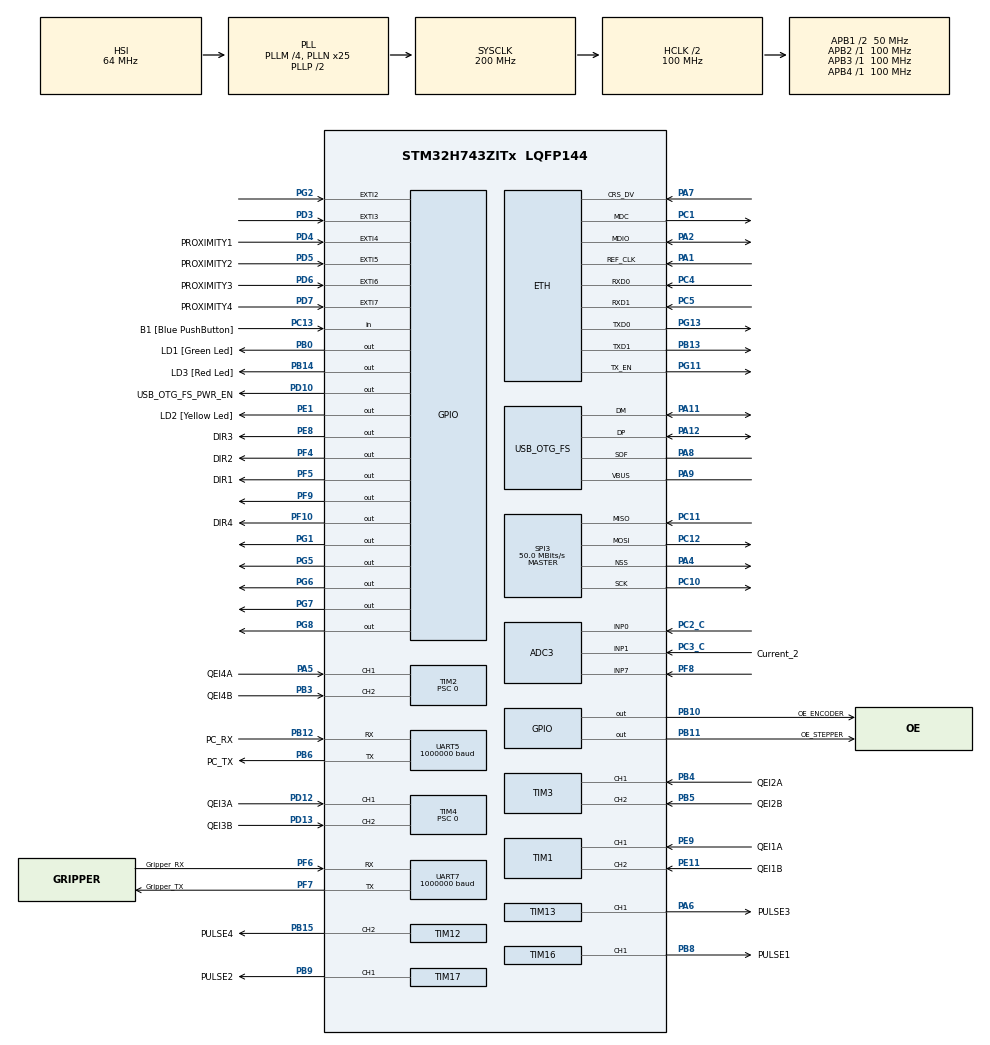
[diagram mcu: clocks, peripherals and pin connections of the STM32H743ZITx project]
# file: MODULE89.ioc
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ADC3.Channel-0\#ChannelRegularConversion=ADC_CHANNEL_1
ADC3.ClockPrescaler=ADC_CLOCK_ASYNC_DIV4
ADC3.ContinuousConvMode=ENABLE
ADC3.DiscontinuousConvMode=DISABLE
ADC3.NbrOfConversionFlag=1
ADC3.OffsetNumber-0\#ChannelRegularConversion=ADC_OFFSET_NONE
ADC3.OffsetSignedSaturation-0\#ChannelRegularConversion=DISABLE
ADC3.Rank-0\#ChannelRegularConversion=1
ADC3.SamplingTime-0\#ChannelRegularConversion=ADC_SAMPLETIME_1CYCLE_5
ARM.CMSIS.5.6.0.CMSISJjCORE=true
ARM.CMSIS.5.6.0.CMSISJjDSP=Library
Bdma.ADC3.0.Direction=DMA_PERIPH_TO_MEMORY
Bdma.ADC3.0.EventEnable=DISABLE
Bdma.ADC3.0.Instance=BDMA_Channel0
Bdma.ADC3.0.MemDataAlignment=DMA_MDATAALIGN_WORD
Bdma.ADC3.0.MemInc=DMA_MINC_ENABLE
Bdma.ADC3.0.Mode=DMA_CIRCULAR
Bdma.ADC3.0.PeriphDataAlignment=DMA_PDATAALIGN_WORD
Bdma.ADC3.0.PeriphInc=DMA_PINC_DISABLE
Bdma.ADC3.0.Polarity=HAL_DMAMUX_REQ_GEN_RISING
Bdma.ADC3.0.Priority=DMA_PRIORITY_LOW
Bdma.ADC3.0.RequestNumber=1
Bdma.ADC3.0.SignalID=NONE
Bdma.ADC3.0.SyncEnable=DISABLE
Bdma.ADC3.0.SyncPolarity=HAL_DMAMUX_SYNC_NO_EVENT
Bdma.ADC3.0.SyncRequestNumber=1
Bdma.ADC3.0.SyncSignalID=NONE
Bdma.Request0=ADC3
Bdma.RequestsNb=1
Dma.Request0=UART5_RX
Dma.Request1=UART5_TX
Dma.UART5_RX.0.Direction=DMA_PERIPH_TO_MEMORY
Dma.UART5_RX.0.EventEnable=DISABLE
Dma.UART5_RX.0.FIFOMode=DMA_FIFOMODE_DISABLE
Dma.UART5_RX.0.Instance=DMA1_Stream1
Dma.UART5_RX.0.MemDataAlignment=DMA_MDATAALIGN_BYTE
Dma.UART5_RX.0.MemInc=DMA_MINC_ENABLE
Dma.UART5_RX.0.Mode=DMA_CIRCULAR
Dma.UART5_RX.0.PeriphDataAlignment=DMA_PDATAALIGN_BYTE
Dma.UART5_RX.0.PeriphInc=DMA_PINC_DISABLE
Dma.UART5_RX.0.Polarity=HAL_DMAMUX_REQ_GEN_RISING
Dma.UART5_RX.0.Priority=DMA_PRIORITY_LOW
Dma.UART5_RX.0.RequestNumber=1
Dma.UART5_RX.0.SignalID=NONE
Dma.UART5_RX.0.SyncEnable=DISABLE
Dma.UART5_RX.0.SyncPolarity=HAL_DMAMUX_SYNC_NO_EVENT
Dma.UART5_RX.0.SyncRequestNumber=1
Dma.UART5_RX.0.SyncSignalID=NONE
Dma.UART5_TX.1.Direction=DMA_MEMORY_TO_PERIPH
Dma.UART5_TX.1.EventEnable=DISABLE
Dma.UART5_TX.1.FIFOMode=DMA_FIFOMODE_DISABLE
Dma.UART5_TX.1.Instance=DMA1_Stream0
Dma.UART5_TX.1.MemDataAlignment=DMA_MDATAALIGN_BYTE
Dma.UART5_TX.1.MemInc=DMA_MINC_ENABLE
Dma.UART5_TX.1.Mode=DMA_CIRCULAR
Dma.UART5_TX.1.PeriphDataAlignment=DMA_PDATAALIGN_BYTE
Dma.UART5_TX.1.PeriphInc=DMA_PINC_DISABLE
Dma.UART5_TX.1.Polarity=HAL_DMAMUX_REQ_GEN_RISING
Dma.UART5_TX.1.Priority=DMA_PRIORITY_LOW
Dma.UART5_TX.1.RequestNumber=1
Dma.UART5_TX.1.SignalID=NONE
Dma.UART5_TX.1.SyncEnable=DISABLE
Dma.UART5_TX.1.SyncPolarity=HAL_DMAMUX_SYNC_NO_EVENT
Dma.UART5_TX.1.SyncRequestNumber=1
Dma.UART5_TX.1.SyncSignalID=NONE
ETH.MediaInterface=HAL_ETH_RMII_MODE
Mcu.Family=STM32H7
Mcu.Name=STM32H743ZITx
Mcu.Package=LQFP144
NVIC.BDMA_Channel0_IRQn=true\:0\:0\:false\:false\:true\:false\:true
NVIC.DMA1_Stream0_IRQn=true\:0\:0\:false\:false\:true\:false\:true
NVIC.DMA1_Stream1_IRQn=true\:0\:0\:false\:false\:true\:false\:true
NVIC.EXTI4_IRQn=true\:0\:0\:false\:false\:true\:true\:true
NVIC.EXTI9_5_IRQn=true\:0\:0\:false\:false\:true\:true\:true
NVIC.PriorityGroup=NVIC_PRIORITYGROUP_4
NVIC.TIM16_IRQn=true\:0\:0\:false\:false\:true\:true\:true
NVIC.TIM17_IRQn=true\:0\:0\:false\:false\:true\:true\:true
NVIC.TIM5_IRQn=true\:0\:0\:false\:false\:true\:true\:true
NVIC.TIM8_BRK_TIM12_IRQn=true\:0\:0\:false\:false\:true\:true\:true
NVIC.TIM8_UP_TIM13_IRQn=true\:0\:0\:false\:false\:true\:true\:true
NVIC.UART5_IRQn=true\:0\:0\:false\:false\:true\:true\:true
NVIC.UART7_IRQn=true\:0\:0\:false\:false\:true\:true\:true
PA1.Mode=RMII
PA1.PinAttribute=Free
PA1.Signal=ETH_REF_CLK
PA11.Mode=Device_Only
PA11.Signal=USB_OTG_FS_DM
PA12.Mode=Device_Only
PA12.Signal=USB_OTG_FS_DP
PA2.Mode=RMII
PA2.PinAttribute=Free
PA2.Signal=ETH_MDIO
PA4.Mode=NSS_Signal_Hard_Output
PA4.Signal=SPI3_NSS
PA5.GPIO_Label=QEI4A
PA5.Signal=S_TIM2_CH1
PA6.GPIO_Label=PULSE3
PA6.GPIO_PuPd=GPIO_PULLUP
PA6.GPIO_Speed=GPIO_SPEED_FREQ_LOW
PA6.Signal=S_TIM13_CH1
PA7.Mode=RMII
PA7.Signal=ETH_CRS_DV
PA8.Mode=Activate_SOF_FS
PA8.Signal=USB_OTG_FS_SOF
PA9.Mode=Activate_VBUS
PA9.Signal=USB_OTG_FS_VBUS
PB0.GPIO_Label=LD1 [Green Led]
PB0.Signal=GPIO_Output
PB10.GPIO_Label=OE_ENCODER
PB10.Signal=GPIO_Output
PB11.GPIO_Label=OE_STEPPER
PB11.Signal=GPIO_Output
PB12.GPIO_Label=PC_RX
PB12.Mode=Asynchronous
PB12.Signal=UART5_RX
PB13.Mode=RMII
PB13.Signal=ETH_TXD1
PB14.GPIO_Label=LD3 [Red Led]
PB14.Signal=GPIO_Output
PB15.GPIO_Label=PULSE4
PB15.GPIO_PuPd=GPIO_PULLUP
PB15.GPIO_Speed=GPIO_SPEED_FREQ_LOW
PB15.Signal=S_TIM12_CH2
PB3\ (JTDO/TRACESWO).GPIO_Label=QEI4B
PB3\ (JTDO/TRACESWO).Signal=S_TIM2_CH2
PB4\ (NJTRST).GPIO_Label=QEI2A
PB4\ (NJTRST).Signal=S_TIM3_CH1
PB5.GPIO_Label=QEI2B
PB5.Signal=S_TIM3_CH2
PB6.GPIO_Label=PC_TX
PB6.Mode=Asynchronous
PB6.Signal=UART5_TX
PB8.GPIO_FM8=__NULL
PB8.GPIO_Label=PULSE1
PB8.GPIO_PuPd=GPIO_PULLUP
PB8.GPIO_Speed=GPIO_SPEED_FREQ_LOW
PB8.Signal=S_TIM16_CH1
PB9.GPIO_Label=PULSE2
PB9.GPIO_PuPd=GPIO_PULLUP
PB9.GPIO_Speed=GPIO_SPEED_FREQ_LOW
PB9.Signal=S_TIM17_CH1
PC1.Mode=RMII
PC1.PinAttribute=Free
PC1.Signal=ETH_MDC
PC10.Mode=Full_Duplex_Master
PC10.Signal=SPI3_SCK
PC11.Mode=Full_Duplex_Master
PC11.Signal=SPI3_MISO
PC12.Mode=Full_Duplex_Master
PC12.Signal=SPI3_MOSI
PC13.GPIO_Label=B1 [Blue PushButton]
PC13.Signal=GPIO_Input
PC14-OSC32_IN\ (OSC32_IN).Mode=LSE-External-Oscillator
PC14-OSC32_IN\ (OSC32_IN).Signal=RCC_OSC32_IN
PC15-OSC32_OUT\ (OSC32_OUT).Mode=LSE-External-Oscillator
PC15-OSC32_OUT\ (OSC32_OUT).Signal=RCC_OSC32_OUT
PC2_C.Mode=IN0-Single-Ended
PC2_C.Signal=ADC3_INP0
PC3_C.GPIO_Label=Current_2
PC3_C.Mode=IN1-Single-Ended
PC3_C.PinAttribute=Free
PC3_C.Signal=ADC3_INP1
PC4.Mode=RMII
PC4.Signal=ETH_RXD0
PC5.Mode=RMII
PC5.Signal=ETH_RXD1
PD10.GPIO_Label=USB_OTG_FS_PWR_EN
PD10.Signal=GPIO_Output
PD12.GPIO_Label=QEI3A
PD12.GPIO_PuPd=GPIO_NOPULL
PD12.Signal=S_TIM4_CH1
PD13.GPIO_Label=QEI3B
PD13.GPIO_PuPd=GPIO_NOPULL
PD13.Signal=S_TIM4_CH2
PD3.Signal=GPXTI3
PD4.GPIO_Label=PROXIMITY1
PD4.GPIO_ModeDefaultEXTI=GPIO_MODE_IT_FALLING
PD4.Signal=GPXTI4
PD5.GPIO_Label=PROXIMITY2
PD5.GPIO_ModeDefaultEXTI=GPIO_MODE_IT_FALLING
PD5.Signal=GPXTI5
PD6.GPIO_Label=PROXIMITY3
PD6.GPIO_ModeDefaultEXTI=GPIO_MODE_IT_FALLING
PD6.Signal=GPXTI6
PD7.GPIO_Label=PROXIMITY4
PD7.GPIO_ModeDefaultEXTI=GPIO_MODE_IT_FALLING
PD7.GPIO_PuPd=GPIO_NOPULL
PD7.Signal=GPXTI7
PD8.GPIO_Label=STLINK_RX
PD8.Signal=USART3_TX
PD9.GPIO_Label=STLINK_TX
PD9.Signal=USART3_RX
PE1.GPIO_Label=LD2 [Yellow Led]
PE1.Signal=GPIO_Output
PE11.GPIO_Label=QEI1B
PE11.Signal=S_TIM1_CH2
PE8.GPIO_Label=DIR3
PE8.GPIO_PuPd=GPIO_PULLUP
PE8.Signal=GPIO_Output
PE9.GPIO_Label=QEI1A
PE9.Signal=S_TIM1_CH1
PF10.GPIO_Label=DIR4
PF10.GPIO_PuPd=GPIO_PULLUP
PF10.PinAttribute=Free
PF10.Signal=GPIO_Output
PF4.GPIO_Label=DIR2
PF4.GPIO_PuPd=GPIO_PULLUP
PF4.Signal=GPIO_Output
PF5.GPIO_Label=DIR1
PF5.GPIO_PuPd=GPIO_PULLUP
PF5.Signal=GPIO_Output
PF6.GPIO_Label=Gripper_RX
PF6.Mode=Asynchronous
PF6.Signal=UART7_RX
PF7.GPIO_Label=Gripper_TX
PF7.Mode=Asynchronous
PF7.Signal=UART7_TX
PF8.Mode=IN7-Single-Ended
PF8.Signal=ADC3_INP7
PF9.Signal=GPIO_Output
PG1.Signal=GPIO_Output
PG11.Mode=RMII
PG11.Signal=ETH_TX_EN
PG13.Mode=RMII
PG13.Signal=ETH_TXD0
PG2.Signal=GPXTI2
PG5.Signal=GPIO_Output
PG6.Signal=GPIO_Output
PG7.Signal=GPIO_Output
PG8.Signal=GPIO_Output
PH0-OSC_IN\ (PH0).Mode=HSE-External-Oscillator
PH0-OSC_IN\ (PH0).PinAttribute=Free
PH0-OSC_IN\ (PH0).Signal=RCC_OSC_IN
PH1-OSC_OUT\ (PH1).Mode=HSE-External-Oscillator
PH1-OSC_OUT\ (PH1).PinAttribute=Free
PH1-OSC_OUT\ (PH1).Signal=RCC_OSC_OUT
ProjectManager.HeapSize=0x200
ProjectManager.StackSize=0x400
ProjectManager.TargetToolchain=STM32CubeIDE
RCC.ADCCLockSelection=RCC_ADCCLKSOURCE_PLL3
RCC.ADCFreq_Value=40000000
RCC.APB1Freq_Value=50000000
RCC.APB2Freq_Value=100000000
RCC.APB3Freq_Value=100000000
RCC.APB4Freq_Value=100000000
RCC.CortexFreq_Value=200000000
RCC.D2PPRE1=RCC_APB1_DIV2
RCC.DIVM1=4
RCC.DIVM3=4
RCC.DIVN1=25
RCC.DIVN3=10
RCC.DIVQ1=4
RCC.DIVR3=4
RCC.HCLKFreq_Value=100000000
RCC.HPRE=RCC_HCLK_DIV2
RCC.HSE_VALUE=48000000
RCC.PLL1_VCI_Range-AdvancedSettings=RCC_PLL1VCIRANGE_0
RCC.SYSCLKFreq_VALUE=200000000
RCC.SYSCLKSource=RCC_SYSCLKSOURCE_PLLCLK
RCC.USBCLockSelection=RCC_USBCLKSOURCE_HSI48
RCC.USBFreq_Value=48000000
SH.S_TIM12_CH2.0=TIM12_CH2,PWM Generation2 CH2
SH.S_TIM13_CH1.0=TIM13_CH1,PWM Generation1 CH1
SH.S_TIM16_CH1.0=TIM16_CH1,PWM Generation1 CH1
SH.S_TIM17_CH1.0=TIM17_CH1,PWM Generation1 CH1
SH.S_TIM1_CH1.0=TIM1_CH1,Encoder_Interface
SH.S_TIM1_CH2.0=TIM1_CH2,Encoder_Interface
SH.S_TIM2_CH1.0=TIM2_CH1,Encoder_Interface
SH.S_TIM2_CH2.0=TIM2_CH2,Encoder_Interface
SH.S_TIM3_CH1.0=TIM3_CH1,Encoder_Interface
SH.S_TIM3_CH2.0=TIM3_CH2,Encoder_Interface
SH.S_TIM4_CH1.0=TIM4_CH1,Encoder_Interface
SH.S_TIM4_CH2.0=TIM4_CH2,Encoder_Interface
SPI3.BaudRatePrescaler=SPI_BAUDRATEPRESCALER_2
SPI3.CalculateBaudRate=50.0 MBits/s
SPI3.Direction=SPI_DIRECTION_2LINES
SPI3.Mode=SPI_MODE_MASTER
SPI3.VirtualNSS=VM_NSSHARD
SPI3.VirtualType=VM_MASTER
TIM1.EncoderMode=TIM_ENCODERMODE_TI12
TIM12.AutoReloadPreload=TIM_AUTORELOAD_PRELOAD_ENABLE
TIM12.Channel-PWM\ Generation2\ CH2=TIM_CHANNEL_2
TIM12.ClockDivision=TIM_CLOCKDIVISION_DIV1
TIM12.OCFastMode_PWM-PWM\ Generation2\ CH2=TIM_OCFAST_DISABLE
TIM12.Period=62500
TIM12.Prescaler=0
TIM12.Pulse-PWM\ Generation2\ CH2=31250
TIM13.AutoReloadPreload=TIM_AUTORELOAD_PRELOAD_ENABLE
TIM13.Channel=TIM_CHANNEL_1
TIM13.OCFastMode_PWM=TIM_OCFAST_DISABLE
TIM13.Period=62500
TIM13.Prescaler=0
TIM13.Pulse=31250
TIM16.AutoReloadPreload=TIM_AUTORELOAD_PRELOAD_ENABLE
TIM16.Channel=TIM_CHANNEL_1
TIM16.OCFastMode_PWM=TIM_OCFAST_DISABLE
TIM16.Period=62500
TIM16.Prescaler=0
TIM16.Pulse=31250
TIM17.AutoReloadPreload=TIM_AUTORELOAD_PRELOAD_ENABLE
TIM17.Channel=TIM_CHANNEL_1
TIM17.OCFastMode_PWM=TIM_OCFAST_DISABLE
TIM17.Period=62500
TIM17.Prescaler=0
TIM17.Pulse=31250
TIM2.EncoderMode=TIM_ENCODERMODE_TI12
TIM2.Period=2000
TIM2.Prescaler=0
TIM3.EncoderMode=TIM_ENCODERMODE_TI12
TIM4.EncoderMode=TIM_ENCODERMODE_TI12
TIM4.IC1Filter=0
TIM4.IC1Prescaler=TIM_ICPSC_DIV1
TIM4.IC2Filter=0
TIM4.IC2Prescaler=TIM_ICPSC_DIV1
TIM4.Prescaler=0
TIM5.Period=50000
TIM5.Prescaler=0
UART5.BaudRate=1000000
UART7.BaudRate=1000000
USB_OTG_FS.VirtualMode=Device_Only
USB_OTG_FS.dma_enable=DISABLE
VP_ARM.CMSIS_VS_CMSISJjCORE_5.3.0_5.6.0.Mode=CMSISJjCORE
VP_ARM.CMSIS_VS_CMSISJjDSP_1.7.0_5.6.0.Mode=CMSISJjDSP
VP_TIM12_VS_ClockSourceINT.Mode=Internal
VP_TIM13_VS_ClockSourceINT.Mode=Enable_Timer
VP_TIM16_VS_ClockSourceINT.Mode=Enable_Timer
VP_TIM17_VS_ClockSourceINT.Mode=Enable_Timer
VP_TIM5_VS_ClockSourceINT.Mode=Internal
board=NUCLEO-H743ZI2

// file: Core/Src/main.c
/* USER CODE BEGIN Header */
/**
 * 	// File name: main.c
	// Author: KRITTAPAK
	// Project Name: Module8-9
	// Group name: ISUS
  ******************************************************************************
  * @file           : main.c
  * @brief          : Main program body
  ******************************************************************************
  * @attention
  *
  * <h2><center>&copy; Copyright (c) 2021 STMicroelectronics.
  * All rights reserved.</center></h2>
  *
  * This software component is licensed by ST under BSD 3-Clause license,
  * the "License"; You may not use this file except in compliance with the
  * License. You may obtain a copy of the License at:
  *                        opensource.org/licenses/BSD-3-Clause
  *
  ******************************************************************************
  */
/* USER CODE END Header */
#include "main.h"
#include "string.h"

/* USER CODE BEGIN Includes */
#include "arm_math.h"

#include "QEI.h"
#include "PID.h"
#include "STEPPER.h"
#include "Serial.h"
#include "TASKSPACE.h"
#include "forwardKinematic.h"
#include "PATH.h"
#include "CHESS.h"
/* USER CODE END Includes */

#if defined ( __ICCARM__ ) /*!< IAR Compiler */

#pragma location=0x30040000
ETH_DMADescTypeDef  DMARxDscrTab[ETH_RX_DESC_CNT]; /* Ethernet Rx DMA Descriptors */
#pragma location=0x30040060
ETH_DMADescTypeDef  DMATxDscrTab[ETH_TX_DESC_CNT]; /* Ethernet Tx DMA Descriptors */
#pragma location=0x30040200
uint8_t Rx_Buff[ETH_RX_DESC_CNT][ETH_MAX_PACKET_SIZE]; /* Ethernet Receive Buffers */

#elif defined ( __CC_ARM )  /* MDK ARM Compiler */

__attribute__((at(0x30040000))) ETH_DMADescTypeDef  DMARxDscrTab[ETH_RX_DESC_CNT]; /* Ethernet Rx DMA Descriptors */
__attribute__((at(0x30040060))) ETH_DMADescTypeDef  DMATxDscrTab[ETH_TX_DESC_CNT]; /* Ethernet Tx DMA Descriptors */
__attribute__((at(0x30040200))) uint8_t Rx_Buff[ETH_RX_DESC_CNT][ETH_MAX_PACKET_SIZE]; /* Ethernet Receive Buffer */

#elif defined ( __GNUC__ ) /* GNU Compiler */

ETH_DMADescTypeDef DMARxDscrTab[ETH_RX_DESC_CNT] __attribute__((section(".RxDecripSection"))); /* Ethernet Rx DMA Descriptors */
ETH_DMADescTypeDef DMATxDscrTab[ETH_TX_DESC_CNT] __attribute__((section(".TxDecripSection")));   /* Ethernet Tx DMA Descriptors */
uint8_t Rx_Buff[ETH_RX_DESC_CNT][ETH_MAX_PACKET_SIZE] __attribute__((section(".RxArraySection"))); /* Ethernet Receive Buffers */

#endif

ETH_TxPacketConfig TxConfig;
ADC_HandleTypeDef hadc3;
DMA_HandleTypeDef hdma_adc3;

ETH_HandleTypeDef heth;

SPI_HandleTypeDef hspi3;

TIM_HandleTypeDef htim1;
TIM_HandleTypeDef htim2;
TIM_HandleTypeDef htim3;
TIM_HandleTypeDef htim4;
TIM_HandleTypeDef htim5;
TIM_HandleTypeDef htim12;
TIM_HandleTypeDef htim13;
TIM_HandleTypeDef htim16;
TIM_HandleTypeDef htim17;

UART_HandleTypeDef huart5;
UART_HandleTypeDef huart7;
DMA_HandleTypeDef hdma_uart5_rx;
DMA_HandleTypeDef hdma_uart5_tx;

PCD_HandleTypeDef hpcd_USB_OTG_FS;

/* USER CODE BEGIN PV */
uint32_t STEP_TIMER_CLOCK;
uint32_t STEP_CONTROLLER_PERIOD_US;
uint32_t state = 0;
uint32_t time = 0;
double encoder_field = 0;
/* USER CODE END PV */

void SystemClock_Config(void);
static void MX_GPIO_Init(void);
static void MX_BDMA_Init(void);
static void MX_DMA_Init(void);
static void MX_ETH_Init(void);
static void MX_USB_OTG_FS_PCD_Init(void);
static void MX_TIM2_Init(void);
static void MX_TIM3_Init(void);
static void MX_TIM4_Init(void);
static void MX_TIM1_Init(void);
static void MX_SPI3_Init(void);
static void MX_ADC3_Init(void);
static void MX_TIM5_Init(void);
static void MX_UART7_Init(void);
static void MX_TIM12_Init(void);
static void MX_TIM13_Init(void);
static void MX_TIM16_Init(void);
static void MX_TIM17_Init(void);
static void MX_UART5_Init(void);

int main(void)
{

  /* MCU Configuration--------------------------------------------------------*/

  /* Reset of all peripherals, Initializes the Flash interface and the Systick. */
  HAL_Init();

  /* Configure the system clock */
  SystemClock_Config();

  /* Initialize all configured peripherals */
  MX_GPIO_Init();
  MX_BDMA_Init();
  MX_DMA_Init();
  MX_ETH_Init();
  MX_USB_OTG_FS_PCD_Init();
  MX_TIM2_Init();
  MX_TIM3_Init();
  MX_TIM4_Init();
  MX_TIM1_Init();
  MX_SPI3_Init();
  MX_ADC3_Init();
  MX_TIM5_Init();
  MX_UART7_Init();
  MX_TIM12_Init();
  MX_TIM13_Init();
  MX_TIM16_Init();
  MX_TIM17_Init();
  MX_UART5_Init();
  /* USER CODE BEGIN 2 */
  STEP_TIMER_CLOCK = HAL_RCC_GetHCLKFreq();
  STEP_CONTROLLER_PERIOD_US =  1000000U /(HAL_RCC_GetHCLKFreq() / htim5.Init.Period);

  //htim16 stepper 1
  //htim17 stepper 2
  //htim13 stepper 3
  //htim12 stepper 4

  //Stepper Setup
//  Stepper_Setup(1, &htim16, TIM_CHANNEL_1, DIR1_GPIO_Port, DIR1_Pin, 0);
//  Stepper_SetMinPosition(1, -360.00);
//  Stepper_SetMaxPosition(1, 360.00);
//  Stepper_Setup(2, &htim17, TIM_CHANNEL_1, DIR2_GPIO_Port, DIR2_Pin, 0);
//  Stepper_SetMinPosition(2, -360.00);
//  Stepper_SetMaxPosition(2, 360.00);
//  Stepper_Setup(3, &htim13, TIM_CHANNEL_1, DIR3_GPIO_Port, DIR3_Pin, 1);
//  Stepper_SetMinPosition(3, -106.00);
//  Stepper_SetMaxPosition(3, 106.00);

  Stepper_Setup(3, &htim16, TIM_CHANNEL_1, DIR1_GPIO_Port, DIR1_Pin, 1);
  Stepper_SetMinPosition(3, -106.00);
  Stepper_SetMaxPosition(3, 106.00);
  Stepper_Setup(2, &htim17, TIM_CHANNEL_1, DIR2_GPIO_Port, DIR2_Pin, 0);
  Stepper_SetMinPosition(2, -360.00);
  Stepper_SetMaxPosition(2, 360.00);
  Stepper_Setup(1, &htim13, TIM_CHANNEL_1, DIR3_GPIO_Port, DIR3_Pin, 0);
  Stepper_SetMinPosition(1, -360.00);
  Stepper_SetMaxPosition(1, 360.00);

  Stepper_Setup(4, &htim12, TIM_CHANNEL_2, DIR4_GPIO_Port, DIR4_Pin, 1);
  Stepper_SetMinPosition(4, 0);
  Stepper_SetMaxPosition(4, 150.00);
  Stepper_DefaultState(1);
  Stepper_DefaultState(2);
  Stepper_DefaultState(3);
  Stepper_DefaultState(4);

//  __HAL_TIM_ENABLE_IT(&htim12, TIM_IT_UPDATE);
//  __HAL_TIM_ENABLE_IT(&htim13, TIM_IT_UPDATE);
//  __HAL_TIM_ENABLE_IT(&htim16, TIM_IT_UPDATE);

  //Timer Interrupt Control
  HAL_TIM_Base_Start_IT(&htim5);

  //PID STEPPER Setup
  setupPID(1, 0.001, -50, 50, 0.25, 0, 0);
  setupPID(2, 0.001, -75, 75, 0.25, 0, 0);
  setupPID(3, 0.001, -1000, 1000, 3.0, 0, 0);

  //PID Field Setup
//  setupPID(4, 0.05, -20, 20, 1.0, 0, 0);

  //Encoder Setup
  Encoder_Start(1, &htim1, TIM_CHANNEL_ALL);
  Encoder_Start(2, &htim3, TIM_CHANNEL_ALL);
  Encoder_Start(3, &htim4, TIM_CHANNEL_ALL);
  Encoder_Start(4, &htim2, TIM_CHANNEL_ALL);

  //Uart
  Serial_Setup(1, &huart5);
  Serial_Setup(2, &huart7);

  //Encoder Field
  set_field_zero();

//  Stepper_updateHome(1, 1);
//  Stepper_updateHome(2, 1);
//  Stepper_updateHome(3, 1);
  /* USER CODE END 2 */

  /* Infinite loop */
  /* USER CODE BEGIN WHILE */
  while (1)
  {
	  encoder_field = get_real_degree_chess();

	  if((HAL_GetTick() - time) > 1000){
		  time = HAL_GetTick();
		  Feedback_XYZ(1, get_fk_X(0), get_fk_Y(0), get_fk_Z(0), get_fk_roll(0));
	  }
	  if(state){
		  update_FK_real(0);
		  update_path();
//		  Feedback_JOINT(1, , q2, q3, q4);
		  Stepper_runStep(1);
		  Stepper_runStep(2);
		  Stepper_runStep(3);
//		  Stepper_runStep(4);
		  state = 0;
	  }
	  selectPacket(1);

    /* USER CODE END WHILE */

  }
}

void SystemClock_Config(void)
{
  RCC_OscInitTypeDef RCC_OscInitStruct = {0};
  RCC_ClkInitTypeDef RCC_ClkInitStruct = {0};

  /** Supply configuration update enable
  */
  HAL_PWREx_ConfigSupply(PWR_LDO_SUPPLY);
  /** Configure the main internal regulator output voltage
  */
  __HAL_PWR_VOLTAGESCALING_CONFIG(PWR_REGULATOR_VOLTAGE_SCALE3);

  while(!__HAL_PWR_GET_FLAG(PWR_FLAG_VOSRDY)) {}
  /** Macro to configure the PLL clock source
  */
  __HAL_RCC_PLL_PLLSOURCE_CONFIG(RCC_PLLSOURCE_HSI);
  /** Initializes the RCC Oscillators according to the specified parameters
  * in the RCC_OscInitTypeDef structure.
  */
  RCC_OscInitStruct.OscillatorType = RCC_OSCILLATORTYPE_HSI48|RCC_OSCILLATORTYPE_HSI;
  RCC_OscInitStruct.HSIState = RCC_HSI_DIV1;
  RCC_OscInitStruct.HSICalibrationValue = RCC_HSICALIBRATION_DEFAULT;
  RCC_OscInitStruct.HSI48State = RCC_HSI48_ON;
  RCC_OscInitStruct.PLL.PLLState = RCC_PLL_ON;
  RCC_OscInitStruct.PLL.PLLSource = RCC_PLLSOURCE_HSI;
  RCC_OscInitStruct.PLL.PLLM = 4;
  RCC_OscInitStruct.PLL.PLLN = 25;
  RCC_OscInitStruct.PLL.PLLP = 2;
  RCC_OscInitStruct.PLL.PLLQ = 4;
  RCC_OscInitStruct.PLL.PLLR = 2;
  RCC_OscInitStruct.PLL.PLLRGE = RCC_PLL1VCIRANGE_3;
  RCC_OscInitStruct.PLL.PLLVCOSEL = RCC_PLL1VCOWIDE;
  RCC_OscInitStruct.PLL.PLLFRACN = 0;
  if (HAL_RCC_OscConfig(&RCC_OscInitStruct) != HAL_OK)
  {
    Error_Handler();
  }
  /** Initializes the CPU, AHB and APB buses clocks
  */
  RCC_ClkInitStruct.ClockType = RCC_CLOCKTYPE_HCLK|RCC_CLOCKTYPE_SYSCLK
                              |RCC_CLOCKTYPE_PCLK1|RCC_CLOCKTYPE_PCLK2
                              |RCC_CLOCKTYPE_D3PCLK1|RCC_CLOCKTYPE_D1PCLK1;
  RCC_ClkInitStruct.SYSCLKSource = RCC_SYSCLKSOURCE_PLLCLK;
  RCC_ClkInitStruct.SYSCLKDivider = RCC_SYSCLK_DIV1;
  RCC_ClkInitStruct.AHBCLKDivider = RCC_HCLK_DIV2;
  RCC_ClkInitStruct.APB3CLKDivider = RCC_APB3_DIV1;
  RCC_ClkInitStruct.APB1CLKDivider = RCC_APB1_DIV2;
  RCC_ClkInitStruct.APB2CLKDivider = RCC_APB2_DIV1;
  RCC_ClkInitStruct.APB4CLKDivider = RCC_APB4_DIV1;

  if (HAL_RCC_ClockConfig(&RCC_ClkInitStruct, FLASH_LATENCY_2) != HAL_OK)
  {
    Error_Handler();
  }
}

static void MX_ADC3_Init(void)
{

  ADC_ChannelConfTypeDef sConfig = {0};

  /** Common config
  */
  hadc3.Instance = ADC3;
  hadc3.Init.ClockPrescaler = ADC_CLOCK_ASYNC_DIV4;
  hadc3.Init.Resolution = ADC_RESOLUTION_16B;
  hadc3.Init.ScanConvMode = ADC_SCAN_DISABLE;
  hadc3.Init.EOCSelection = ADC_EOC_SINGLE_CONV;
  hadc3.Init.LowPowerAutoWait = DISABLE;
  hadc3.Init.ContinuousConvMode = ENABLE;
  hadc3.Init.NbrOfConversion = 1;
  hadc3.Init.DiscontinuousConvMode = DISABLE;
  hadc3.Init.ExternalTrigConv = ADC_SOFTWARE_START;
  hadc3.Init.ExternalTrigConvEdge = ADC_EXTERNALTRIGCONVEDGE_NONE;
  hadc3.Init.ConversionDataManagement = ADC_CONVERSIONDATA_DR;
  hadc3.Init.Overrun = ADC_OVR_DATA_PRESERVED;
  hadc3.Init.LeftBitShift = ADC_LEFTBITSHIFT_NONE;
  hadc3.Init.OversamplingMode = DISABLE;
  if (HAL_ADC_Init(&hadc3) != HAL_OK)
  {
    Error_Handler();
  }
  /** Configure Regular Channel
  */
  sConfig.Channel = ADC_CHANNEL_1;
  sConfig.Rank = ADC_REGULAR_RANK_1;
  sConfig.SamplingTime = ADC_SAMPLETIME_1CYCLE_5;
  sConfig.SingleDiff = ADC_SINGLE_ENDED;
  sConfig.OffsetNumber = ADC_OFFSET_NONE;
  sConfig.Offset = 0;
  sConfig.OffsetSignedSaturation = DISABLE;
  if (HAL_ADC_ConfigChannel(&hadc3, &sConfig) != HAL_OK)
  {
    Error_Handler();
  }

}

static void MX_ETH_Init(void)
{

   static uint8_t MACAddr[6];

  heth.Instance = ETH;
  MACAddr[0] = 0x00;
  MACAddr[1] = 0x80;
  MACAddr[2] = 0xE1;
  MACAddr[3] = 0x00;
  MACAddr[4] = 0x00;
  MACAddr[5] = 0x00;
  heth.Init.MACAddr = &MACAddr[0];
  heth.Init.MediaInterface = HAL_ETH_RMII_MODE;
  heth.Init.TxDesc = DMATxDscrTab;
  heth.Init.RxDesc = DMARxDscrTab;
  heth.Init.RxBuffLen = 1524;

  if (HAL_ETH_Init(&heth) != HAL_OK)
  {
    Error_Handler();
  }

  memset(&TxConfig, 0 , sizeof(ETH_TxPacketConfig));
  TxConfig.Attributes = ETH_TX_PACKETS_FEATURES_CSUM | ETH_TX_PACKETS_FEATURES_CRCPAD;
  TxConfig.ChecksumCtrl = ETH_CHECKSUM_IPHDR_PAYLOAD_INSERT_PHDR_CALC;
  TxConfig.CRCPadCtrl = ETH_CRC_PAD_INSERT;

}

static void MX_SPI3_Init(void)
{

  /* SPI3 parameter configuration*/
  hspi3.Instance = SPI3;
  hspi3.Init.Mode = SPI_MODE_MASTER;
  hspi3.Init.Direction = SPI_DIRECTION_2LINES;
  hspi3.Init.DataSize = SPI_DATASIZE_4BIT;
  hspi3.Init.CLKPolarity = SPI_POLARITY_LOW;
  hspi3.Init.CLKPhase = SPI_PHASE_1EDGE;
  hspi3.Init.NSS = SPI_NSS_HARD_OUTPUT;
  hspi3.Init.BaudRatePrescaler = SPI_BAUDRATEPRESCALER_2;
  hspi3.Init.FirstBit = SPI_FIRSTBIT_MSB;
  hspi3.Init.TIMode = SPI_TIMODE_DISABLE;
  hspi3.Init.CRCCalculation = SPI_CRCCALCULATION_DISABLE;
  hspi3.Init.CRCPolynomial = 0x0;
  hspi3.Init.NSSPMode = SPI_NSS_PULSE_ENABLE;
  hspi3.Init.NSSPolarity = SPI_NSS_POLARITY_LOW;
  hspi3.Init.FifoThreshold = SPI_FIFO_THRESHOLD_01DATA;
  hspi3.Init.TxCRCInitializationPattern = SPI_CRC_INITIALIZATION_ALL_ZERO_PATTERN;
  hspi3.Init.RxCRCInitializationPattern = SPI_CRC_INITIALIZATION_ALL_ZERO_PATTERN;
  hspi3.Init.MasterSSIdleness = SPI_MASTER_SS_IDLENESS_00CYCLE;
  hspi3.Init.MasterInterDataIdleness = SPI_MASTER_INTERDATA_IDLENESS_00CYCLE;
  hspi3.Init.MasterReceiverAutoSusp = SPI_MASTER_RX_AUTOSUSP_DISABLE;
  hspi3.Init.MasterKeepIOState = SPI_MASTER_KEEP_IO_STATE_DISABLE;
  hspi3.Init.IOSwap = SPI_IO_SWAP_DISABLE;
  if (HAL_SPI_Init(&hspi3) != HAL_OK)
  {
    Error_Handler();
  }

}

static void MX_TIM1_Init(void)
{

  TIM_Encoder_InitTypeDef sConfig = {0};
  TIM_MasterConfigTypeDef sMasterConfig = {0};

  htim1.Instance = TIM1;
  htim1.Init.Prescaler = 0;
  htim1.Init.CounterMode = TIM_COUNTERMODE_UP;
  htim1.Init.Period = 65535;
  htim1.Init.ClockDivision = TIM_CLOCKDIVISION_DIV1;
  htim1.Init.RepetitionCounter = 0;
  htim1.Init.AutoReloadPreload = TIM_AUTORELOAD_PRELOAD_DISABLE;
  sConfig.EncoderMode = TIM_ENCODERMODE_TI12;
  sConfig.IC1Polarity = TIM_ICPOLARITY_RISING;
  sConfig.IC1Selection = TIM_ICSELECTION_DIRECTTI;
  sConfig.IC1Prescaler = TIM_ICPSC_DIV1;
  sConfig.IC1Filter = 0;
  sConfig.IC2Polarity = TIM_ICPOLARITY_RISING;
  sConfig.IC2Selection = TIM_ICSELECTION_DIRECTTI;
  sConfig.IC2Prescaler = TIM_ICPSC_DIV1;
  sConfig.IC2Filter = 0;
  if (HAL_TIM_Encoder_Init(&htim1, &sConfig) != HAL_OK)
  {
    Error_Handler();
  }
  sMasterConfig.MasterOutputTrigger = TIM_TRGO_RESET;
  sMasterConfig.MasterOutputTrigger2 = TIM_TRGO2_RESET;
  sMasterConfig.MasterSlaveMode = TIM_MASTERSLAVEMODE_DISABLE;
  if (HAL_TIMEx_MasterConfigSynchronization(&htim1, &sMasterConfig) != HAL_OK)
  {
    Error_Handler();
  }

}

static void MX_TIM2_Init(void)
{

  TIM_Encoder_InitTypeDef sConfig = {0};
  TIM_MasterConfigTypeDef sMasterConfig = {0};

  htim2.Instance = TIM2;
  htim2.Init.Prescaler = 0;
  htim2.Init.CounterMode = TIM_COUNTERMODE_UP;
  htim2.Init.Period = 2000;
  htim2.Init.ClockDivision = TIM_CLOCKDIVISION_DIV1;
  htim2.Init.AutoReloadPreload = TIM_AUTORELOAD_PRELOAD_DISABLE;
  sConfig.EncoderMode = TIM_ENCODERMODE_TI12;
  sConfig.IC1Polarity = TIM_ICPOLARITY_RISING;
  sConfig.IC1Selection = TIM_ICSELECTION_DIRECTTI;
  sConfig.IC1Prescaler = TIM_ICPSC_DIV1;
  sConfig.IC1Filter = 0;
  sConfig.IC2Polarity = TIM_ICPOLARITY_RISING;
  sConfig.IC2Selection = TIM_ICSELECTION_DIRECTTI;
  sConfig.IC2Prescaler = TIM_ICPSC_DIV1;
  sConfig.IC2Filter = 0;
  if (HAL_TIM_Encoder_Init(&htim2, &sConfig) != HAL_OK)
  {
    Error_Handler();
  }
  sMasterConfig.MasterOutputTrigger = TIM_TRGO_RESET;
  sMasterConfig.MasterSlaveMode = TIM_MASTERSLAVEMODE_DISABLE;
  if (HAL_TIMEx_MasterConfigSynchronization(&htim2, &sMasterConfig) != HAL_OK)
  {
    Error_Handler();
  }

}

static void MX_TIM3_Init(void)
{

  TIM_Encoder_InitTypeDef sConfig = {0};
  TIM_MasterConfigTypeDef sMasterConfig = {0};

  htim3.Instance = TIM3;
  htim3.Init.Prescaler = 0;
  htim3.Init.CounterMode = TIM_COUNTERMODE_UP;
  htim3.Init.Period = 65535;
  htim3.Init.ClockDivision = TIM_CLOCKDIVISION_DIV1;
  htim3.Init.AutoReloadPreload = TIM_AUTORELOAD_PRELOAD_DISABLE;
  sConfig.EncoderMode = TIM_ENCODERMODE_TI12;
  sConfig.IC1Polarity = TIM_ICPOLARITY_RISING;
  sConfig.IC1Selection = TIM_ICSELECTION_DIRECTTI;
  sConfig.IC1Prescaler = TIM_ICPSC_DIV1;
  sConfig.IC1Filter = 0;
  sConfig.IC2Polarity = TIM_ICPOLARITY_RISING;
  sConfig.IC2Selection = TIM_ICSELECTION_DIRECTTI;
  sConfig.IC2Prescaler = TIM_ICPSC_DIV1;
  sConfig.IC2Filter = 0;
  if (HAL_TIM_Encoder_Init(&htim3, &sConfig) != HAL_OK)
  {
    Error_Handler();
  }
  sMasterConfig.MasterOutputTrigger = TIM_TRGO_RESET;
  sMasterConfig.MasterSlaveMode = TIM_MASTERSLAVEMODE_DISABLE;
  if (HAL_TIMEx_MasterConfigSynchronization(&htim3, &sMasterConfig) != HAL_OK)
  {
    Error_Handler();
  }

}

static void MX_TIM4_Init(void)
{

  TIM_Encoder_InitTypeDef sConfig = {0};
  TIM_MasterConfigTypeDef sMasterConfig = {0};

  htim4.Instance = TIM4;
  htim4.Init.Prescaler = 0;
  htim4.Init.CounterMode = TIM_COUNTERMODE_UP;
  htim4.Init.Period = 65535;
  htim4.Init.ClockDivision = TIM_CLOCKDIVISION_DIV1;
  htim4.Init.AutoReloadPreload = TIM_AUTORELOAD_PRELOAD_DISABLE;
  sConfig.EncoderMode = TIM_ENCODERMODE_TI12;
  sConfig.IC1Polarity = TIM_ICPOLARITY_RISING;
  sConfig.IC1Selection = TIM_ICSELECTION_DIRECTTI;
  sConfig.IC1Prescaler = TIM_ICPSC_DIV1;
  sConfig.IC1Filter = 0;
  sConfig.IC2Polarity = TIM_ICPOLARITY_RISING;
  sConfig.IC2Selection = TIM_ICSELECTION_DIRECTTI;
  sConfig.IC2Prescaler = TIM_ICPSC_DIV1;
  sConfig.IC2Filter = 0;
  if (HAL_TIM_Encoder_Init(&htim4, &sConfig) != HAL_OK)
  {
    Error_Handler();
  }
  sMasterConfig.MasterOutputTrigger = TIM_TRGO_RESET;
  sMasterConfig.MasterSlaveMode = TIM_MASTERSLAVEMODE_DISABLE;
  if (HAL_TIMEx_MasterConfigSynchronization(&htim4, &sMasterConfig) != HAL_OK)
  {
    Error_Handler();
  }

}

static void MX_TIM5_Init(void)
{

  TIM_ClockConfigTypeDef sClockSourceConfig = {0};
  TIM_MasterConfigTypeDef sMasterConfig = {0};

  htim5.Instance = TIM5;
  htim5.Init.Prescaler = 0;
  htim5.Init.CounterMode = TIM_COUNTERMODE_UP;
  htim5.Init.Period = 50000;
  htim5.Init.ClockDivision = TIM_CLOCKDIVISION_DIV1;
  htim5.Init.AutoReloadPreload = TIM_AUTORELOAD_PRELOAD_DISABLE;
  if (HAL_TIM_Base_Init(&htim5) != HAL_OK)
  {
    Error_Handler();
  }
  sClockSourceConfig.ClockSource = TIM_CLOCKSOURCE_INTERNAL;
  if (HAL_TIM_ConfigClockSource(&htim5, &sClockSourceConfig) != HAL_OK)
  {
    Error_Handler();
  }
  sMasterConfig.MasterOutputTrigger = TIM_TRGO_RESET;
  sMasterConfig.MasterSlaveMode = TIM_MASTERSLAVEMODE_DISABLE;
  if (HAL_TIMEx_MasterConfigSynchronization(&htim5, &sMasterConfig) != HAL_OK)
  {
    Error_Handler();
  }

}

static void MX_TIM12_Init(void)
{

  TIM_ClockConfigTypeDef sClockSourceConfig = {0};
  TIM_OC_InitTypeDef sConfigOC = {0};

  htim12.Instance = TIM12;
  htim12.Init.Prescaler = 0;
  htim12.Init.CounterMode = TIM_COUNTERMODE_UP;
  htim12.Init.Period = 62500;
  htim12.Init.ClockDivision = TIM_CLOCKDIVISION_DIV1;
  htim12.Init.AutoReloadPreload = TIM_AUTORELOAD_PRELOAD_ENABLE;
  if (HAL_TIM_Base_Init(&htim12) != HAL_OK)
  {
    Error_Handler();
  }
  sClockSourceConfig.ClockSource = TIM_CLOCKSOURCE_INTERNAL;
  if (HAL_TIM_ConfigClockSource(&htim12, &sClockSourceConfig) != HAL_OK)
  {
    Error_Handler();
  }
  if (HAL_TIM_PWM_Init(&htim12) != HAL_OK)
  {
    Error_Handler();
  }
  sConfigOC.OCMode = TIM_OCMODE_PWM1;
  sConfigOC.Pulse = 31250;
  sConfigOC.OCPolarity = TIM_OCPOLARITY_HIGH;
  sConfigOC.OCFastMode = TIM_OCFAST_DISABLE;
  if (HAL_TIM_PWM_ConfigChannel(&htim12, &sConfigOC, TIM_CHANNEL_2) != HAL_OK)
  {
    Error_Handler();
  }
  HAL_TIM_MspPostInit(&htim12);

}

static void MX_TIM13_Init(void)
{

  TIM_OC_InitTypeDef sConfigOC = {0};

  htim13.Instance = TIM13;
  htim13.Init.Prescaler = 0;
  htim13.Init.CounterMode = TIM_COUNTERMODE_UP;
  htim13.Init.Period = 62500;
  htim13.Init.ClockDivision = TIM_CLOCKDIVISION_DIV1;
  htim13.Init.AutoReloadPreload = TIM_AUTORELOAD_PRELOAD_ENABLE;
  if (HAL_TIM_Base_Init(&htim13) != HAL_OK)
  {
    Error_Handler();
  }
  if (HAL_TIM_PWM_Init(&htim13) != HAL_OK)
  {
    Error_Handler();
  }
  sConfigOC.OCMode = TIM_OCMODE_PWM1;
  sConfigOC.Pulse = 31250;
  sConfigOC.OCPolarity = TIM_OCPOLARITY_HIGH;
  sConfigOC.OCFastMode = TIM_OCFAST_DISABLE;
  if (HAL_TIM_PWM_ConfigChannel(&htim13, &sConfigOC, TIM_CHANNEL_1) != HAL_OK)
  {
    Error_Handler();
  }
  HAL_TIM_MspPostInit(&htim13);

}

static void MX_TIM16_Init(void)
{

  TIM_OC_InitTypeDef sConfigOC = {0};
  TIM_BreakDeadTimeConfigTypeDef sBreakDeadTimeConfig = {0};

  htim16.Instance = TIM16;
  htim16.Init.Prescaler = 0;
  htim16.Init.CounterMode = TIM_COUNTERMODE_UP;
  htim16.Init.Period = 62500;
  htim16.Init.ClockDivision = TIM_CLOCKDIVISION_DIV1;
  htim16.Init.RepetitionCounter = 0;
  htim16.Init.AutoReloadPreload = TIM_AUTORELOAD_PRELOAD_ENABLE;
  if (HAL_TIM_Base_Init(&htim16) != HAL_OK)
  {
    Error_Handler();
  }
  if (HAL_TIM_PWM_Init(&htim16) != HAL_OK)
  {
    Error_Handler();
  }
  sConfigOC.OCMode = TIM_OCMODE_PWM1;
  sConfigOC.Pulse = 31250;
  sConfigOC.OCPolarity = TIM_OCPOLARITY_HIGH;
  sConfigOC.OCNPolarity = TIM_OCNPOLARITY_HIGH;
  sConfigOC.OCFastMode = TIM_OCFAST_DISABLE;
  sConfigOC.OCIdleState = TIM_OCIDLESTATE_RESET;
  sConfigOC.OCNIdleState = TIM_OCNIDLESTATE_RESET;
  if (HAL_TIM_PWM_ConfigChannel(&htim16, &sConfigOC, TIM_CHANNEL_1) != HAL_OK)
  {
    Error_Handler();
  }
  sBreakDeadTimeConfig.OffStateRunMode = TIM_OSSR_DISABLE;
  sBreakDeadTimeConfig.OffStateIDLEMode = TIM_OSSI_DISABLE;
  sBreakDeadTimeConfig.LockLevel = TIM_LOCKLEVEL_OFF;
  sBreakDeadTimeConfig.DeadTime = 0;
  sBreakDeadTimeConfig.BreakState = TIM_BREAK_DISABLE;
  sBreakDeadTimeConfig.BreakPolarity = TIM_BREAKPOLARITY_HIGH;
  sBreakDeadTimeConfig.BreakFilter = 0;
  sBreakDeadTimeConfig.AutomaticOutput = TIM_AUTOMATICOUTPUT_DISABLE;
  if (HAL_TIMEx_ConfigBreakDeadTime(&htim16, &sBreakDeadTimeConfig) != HAL_OK)
  {
    Error_Handler();
  }
  HAL_TIM_MspPostInit(&htim16);

}

static void MX_TIM17_Init(void)
{

  TIM_OC_InitTypeDef sConfigOC = {0};
  TIM_BreakDeadTimeConfigTypeDef sBreakDeadTimeConfig = {0};

  htim17.Instance = TIM17;
  htim17.Init.Prescaler = 0;
  htim17.Init.CounterMode = TIM_COUNTERMODE_UP;
  htim17.Init.Period = 62500;
  htim17.Init.ClockDivision = TIM_CLOCKDIVISION_DIV1;
  htim17.Init.RepetitionCounter = 0;
  htim17.Init.AutoReloadPreload = TIM_AUTORELOAD_PRELOAD_ENABLE;
  if (HAL_TIM_Base_Init(&htim17) != HAL_OK)
  {
    Error_Handler();
  }
  if (HAL_TIM_PWM_Init(&htim17) != HAL_OK)
  {
    Error_Handler();
  }
  sConfigOC.OCMode = TIM_OCMODE_PWM1;
  sConfigOC.Pulse = 31250;
  sConfigOC.OCPolarity = TIM_OCPOLARITY_HIGH;
  sConfigOC.OCNPolarity = TIM_OCNPOLARITY_HIGH;
  sConfigOC.OCFastMode = TIM_OCFAST_DISABLE;
  sConfigOC.OCIdleState = TIM_OCIDLESTATE_RESET;
  sConfigOC.OCNIdleState = TIM_OCNIDLESTATE_RESET;
  if (HAL_TIM_PWM_ConfigChannel(&htim17, &sConfigOC, TIM_CHANNEL_1) != HAL_OK)
  {
    Error_Handler();
  }
  sBreakDeadTimeConfig.OffStateRunMode = TIM_OSSR_DISABLE;
  sBreakDeadTimeConfig.OffStateIDLEMode = TIM_OSSI_DISABLE;
  sBreakDeadTimeConfig.LockLevel = TIM_LOCKLEVEL_OFF;
  sBreakDeadTimeConfig.DeadTime = 0;
  sBreakDeadTimeConfig.BreakState = TIM_BREAK_DISABLE;
  sBreakDeadTimeConfig.BreakPolarity = TIM_BREAKPOLARITY_HIGH;
  sBreakDeadTimeConfig.BreakFilter = 0;
  sBreakDeadTimeConfig.AutomaticOutput = TIM_AUTOMATICOUTPUT_DISABLE;
  if (HAL_TIMEx_ConfigBreakDeadTime(&htim17, &sBreakDeadTimeConfig) != HAL_OK)
  {
    Error_Handler();
  }
  HAL_TIM_MspPostInit(&htim17);

}

static void MX_UART5_Init(void)
{

  huart5.Instance = UART5;
  huart5.Init.BaudRate = 1000000;
  huart5.Init.WordLength = UART_WORDLENGTH_8B;
  huart5.Init.StopBits = UART_STOPBITS_1;
  huart5.Init.Parity = UART_PARITY_NONE;
  huart5.Init.Mode = UART_MODE_TX_RX;
  huart5.Init.HwFlowCtl = UART_HWCONTROL_NONE;
  huart5.Init.OverSampling = UART_OVERSAMPLING_16;
  huart5.Init.OneBitSampling = UART_ONE_BIT_SAMPLE_DISABLE;
  huart5.Init.ClockPrescaler = UART_PRESCALER_DIV1;
  huart5.AdvancedInit.AdvFeatureInit = UART_ADVFEATURE_NO_INIT;
  if (HAL_UART_Init(&huart5) != HAL_OK)
  {
    Error_Handler();
  }
  if (HAL_UARTEx_SetTxFifoThreshold(&huart5, UART_TXFIFO_THRESHOLD_1_8) != HAL_OK)
  {
    Error_Handler();
  }
  if (HAL_UARTEx_SetRxFifoThreshold(&huart5, UART_RXFIFO_THRESHOLD_1_8) != HAL_OK)
  {
    Error_Handler();
  }
  if (HAL_UARTEx_DisableFifoMode(&huart5) != HAL_OK)
  {
    Error_Handler();
  }

}

static void MX_UART7_Init(void)
{

  huart7.Instance = UART7;
  huart7.Init.BaudRate = 1000000;
  huart7.Init.WordLength = UART_WORDLENGTH_8B;
  huart7.Init.StopBits = UART_STOPBITS_1;
  huart7.Init.Parity = UART_PARITY_NONE;
  huart7.Init.Mode = UART_MODE_TX_RX;
  huart7.Init.HwFlowCtl = UART_HWCONTROL_NONE;
  huart7.Init.OverSampling = UART_OVERSAMPLING_16;
  huart7.Init.OneBitSampling = UART_ONE_BIT_SAMPLE_DISABLE;
  huart7.Init.ClockPrescaler = UART_PRESCALER_DIV1;
  huart7.AdvancedInit.AdvFeatureInit = UART_ADVFEATURE_NO_INIT;
  if (HAL_UART_Init(&huart7) != HAL_OK)
  {
    Error_Handler();
  }
  if (HAL_UARTEx_SetTxFifoThreshold(&huart7, UART_TXFIFO_THRESHOLD_1_8) != HAL_OK)
  {
    Error_Handler();
  }
  if (HAL_UARTEx_SetRxFifoThreshold(&huart7, UART_RXFIFO_THRESHOLD_1_8) != HAL_OK)
  {
    Error_Handler();
  }
  if (HAL_UARTEx_DisableFifoMode(&huart7) != HAL_OK)
  {
    Error_Handler();
  }

}

static void MX_USB_OTG_FS_PCD_Init(void)
{

  hpcd_USB_OTG_FS.Instance = USB_OTG_FS;
  hpcd_USB_OTG_FS.Init.dev_endpoints = 9;
  hpcd_USB_OTG_FS.Init.speed = PCD_SPEED_FULL;
  hpcd_USB_OTG_FS.Init.dma_enable = DISABLE;
  hpcd_USB_OTG_FS.Init.phy_itface = PCD_PHY_EMBEDDED;
  hpcd_USB_OTG_FS.Init.Sof_enable = ENABLE;
  hpcd_USB_OTG_FS.Init.low_power_enable = DISABLE;
  hpcd_USB_OTG_FS.Init.lpm_enable = DISABLE;
  hpcd_USB_OTG_FS.Init.battery_charging_enable = ENABLE;
  hpcd_USB_OTG_FS.Init.vbus_sensing_enable = ENABLE;
  hpcd_USB_OTG_FS.Init.use_dedicated_ep1 = DISABLE;
  if (HAL_PCD_Init(&hpcd_USB_OTG_FS) != HAL_OK)
  {
    Error_Handler();
  }

}

static void MX_BDMA_Init(void)
{

  /* DMA controller clock enable */
  __HAL_RCC_BDMA_CLK_ENABLE();

  /* DMA interrupt init */
  /* BDMA_Channel0_IRQn interrupt configuration */
  HAL_NVIC_SetPriority(BDMA_Channel0_IRQn, 0, 0);
  HAL_NVIC_EnableIRQ(BDMA_Channel0_IRQn);

}

static void MX_DMA_Init(void)
{

  /* DMA controller clock enable */
  __HAL_RCC_DMA1_CLK_ENABLE();

  /* DMA interrupt init */
  /* DMA1_Stream0_IRQn interrupt configuration */
  HAL_NVIC_SetPriority(DMA1_Stream0_IRQn, 0, 0);
  HAL_NVIC_EnableIRQ(DMA1_Stream0_IRQn);
  /* DMA1_Stream1_IRQn interrupt configuration */
  HAL_NVIC_SetPriority(DMA1_Stream1_IRQn, 0, 0);
  HAL_NVIC_EnableIRQ(DMA1_Stream1_IRQn);

}

static void MX_GPIO_Init(void)
{
  GPIO_InitTypeDef GPIO_InitStruct = {0};

  /* GPIO Ports Clock Enable */
  __HAL_RCC_GPIOC_CLK_ENABLE();
  __HAL_RCC_GPIOF_CLK_ENABLE();
  __HAL_RCC_GPIOH_CLK_ENABLE();
  __HAL_RCC_GPIOA_CLK_ENABLE();
  __HAL_RCC_GPIOB_CLK_ENABLE();
  __HAL_RCC_GPIOG_CLK_ENABLE();
  __HAL_RCC_GPIOE_CLK_ENABLE();
  __HAL_RCC_GPIOD_CLK_ENABLE();

  /*Configure GPIO pin Output Level */
  HAL_GPIO_WritePin(GPIOF, DIR2_Pin|DIR1_Pin|GPIO_PIN_9|DIR4_Pin, GPIO_PIN_RESET);

  /*Configure GPIO pin Output Level */
  HAL_GPIO_WritePin(GPIOB, LD1_Pin|OE_ENCODER_Pin|OE_STEPPER_Pin|LD3_Pin, GPIO_PIN_RESET);

  /*Configure GPIO pin Output Level */
  HAL_GPIO_WritePin(GPIOG, GPIO_PIN_1|GPIO_PIN_5|GPIO_PIN_6|GPIO_PIN_7
                          |GPIO_PIN_8, GPIO_PIN_RESET);

  /*Configure GPIO pin Output Level */
  HAL_GPIO_WritePin(GPIOE, DIR3_Pin|LD2_Pin, GPIO_PIN_RESET);

  /*Configure GPIO pin Output Level */
  HAL_GPIO_WritePin(USB_OTG_FS_PWR_EN_GPIO_Port, USB_OTG_FS_PWR_EN_Pin, GPIO_PIN_RESET);

  /*Configure GPIO pin : B1_Pin */
  GPIO_InitStruct.Pin = B1_Pin;
  GPIO_InitStruct.Mode = GPIO_MODE_INPUT;
  GPIO_InitStruct.Pull = GPIO_NOPULL;
  HAL_GPIO_Init(B1_GPIO_Port, &GPIO_InitStruct);

  /*Configure GPIO pins : DIR2_Pin DIR1_Pin DIR4_Pin */
  GPIO_InitStruct.Pin = DIR2_Pin|DIR1_Pin|DIR4_Pin;
  GPIO_InitStruct.Mode = GPIO_MODE_OUTPUT_PP;
  GPIO_InitStruct.Pull = GPIO_PULLUP;
  GPIO_InitStruct.Speed = GPIO_SPEED_FREQ_LOW;
  HAL_GPIO_Init(GPIOF, &GPIO_InitStruct);

  /*Configure GPIO pin : PF9 */
  GPIO_InitStruct.Pin = GPIO_PIN_9;
  GPIO_InitStruct.Mode = GPIO_MODE_OUTPUT_PP;
  GPIO_InitStruct.Pull = GPIO_NOPULL;
  GPIO_InitStruct.Speed = GPIO_SPEED_FREQ_LOW;
  HAL_GPIO_Init(GPIOF, &GPIO_InitStruct);

  /*Configure GPIO pins : LD1_Pin OE_ENCODER_Pin OE_STEPPER_Pin LD3_Pin */
  GPIO_InitStruct.Pin = LD1_Pin|OE_ENCODER_Pin|OE_STEPPER_Pin|LD3_Pin;
  GPIO_InitStruct.Mode = GPIO_MODE_OUTPUT_PP;
  GPIO_InitStruct.Pull = GPIO_NOPULL;
  GPIO_InitStruct.Speed = GPIO_SPEED_FREQ_LOW;
  HAL_GPIO_Init(GPIOB, &GPIO_InitStruct);

  /*Configure GPIO pins : PG1 PG5 PG6 PG7
                           PG8 */
  GPIO_InitStruct.Pin = GPIO_PIN_1|GPIO_PIN_5|GPIO_PIN_6|GPIO_PIN_7
                          |GPIO_PIN_8;
  GPIO_InitStruct.Mode = GPIO_MODE_OUTPUT_PP;
  GPIO_InitStruct.Pull = GPIO_NOPULL;
  GPIO_InitStruct.Speed = GPIO_SPEED_FREQ_LOW;
  HAL_GPIO_Init(GPIOG, &GPIO_InitStruct);

  /*Configure GPIO pin : DIR3_Pin */
  GPIO_InitStruct.Pin = DIR3_Pin;
  GPIO_InitStruct.Mode = GPIO_MODE_OUTPUT_PP;
  GPIO_InitStruct.Pull = GPIO_PULLUP;
  GPIO_InitStruct.Speed = GPIO_SPEED_FREQ_LOW;
  HAL_GPIO_Init(DIR3_GPIO_Port, &GPIO_InitStruct);

  /*Configure GPIO pins : STLINK_RX_Pin STLINK_TX_Pin */
  GPIO_InitStruct.Pin = STLINK_RX_Pin|STLINK_TX_Pin;
  GPIO_InitStruct.Mode = GPIO_MODE_AF_PP;
  GPIO_InitStruct.Pull = GPIO_NOPULL;
  GPIO_InitStruct.Speed = GPIO_SPEED_FREQ_LOW;
  GPIO_InitStruct.Alternate = GPIO_AF7_USART3;
  HAL_GPIO_Init(GPIOD, &GPIO_InitStruct);

  /*Configure GPIO pin : USB_OTG_FS_PWR_EN_Pin */
  GPIO_InitStruct.Pin = USB_OTG_FS_PWR_EN_Pin;
  GPIO_InitStruct.Mode = GPIO_MODE_OUTPUT_PP;
  GPIO_InitStruct.Pull = GPIO_NOPULL;
  GPIO_InitStruct.Speed = GPIO_SPEED_FREQ_LOW;
  HAL_GPIO_Init(USB_OTG_FS_PWR_EN_GPIO_Port, &GPIO_InitStruct);

  /*Configure GPIO pin : PG2 */
  GPIO_InitStruct.Pin = GPIO_PIN_2;
  GPIO_InitStruct.Mode = GPIO_MODE_IT_RISING;
  GPIO_InitStruct.Pull = GPIO_NOPULL;
  HAL_GPIO_Init(GPIOG, &GPIO_InitStruct);

  /*Configure GPIO pin : PD3 */
  GPIO_InitStruct.Pin = GPIO_PIN_3;
  GPIO_InitStruct.Mode = GPIO_MODE_IT_RISING;
  GPIO_InitStruct.Pull = GPIO_NOPULL;
  HAL_GPIO_Init(GPIOD, &GPIO_InitStruct);

  /*Configure GPIO pins : PROXIMITY1_Pin PROXIMITY2_Pin PROXIMITY3_Pin PROXIMITY4_Pin */
  GPIO_InitStruct.Pin = PROXIMITY1_Pin|PROXIMITY2_Pin|PROXIMITY3_Pin|PROXIMITY4_Pin;
  GPIO_InitStruct.Mode = GPIO_MODE_IT_FALLING;
  GPIO_InitStruct.Pull = GPIO_NOPULL;
  HAL_GPIO_Init(GPIOD, &GPIO_InitStruct);

  /*Configure GPIO pin : LD2_Pin */
  GPIO_InitStruct.Pin = LD2_Pin;
  GPIO_InitStruct.Mode = GPIO_MODE_OUTPUT_PP;
  GPIO_InitStruct.Pull = GPIO_NOPULL;
  GPIO_InitStruct.Speed = GPIO_SPEED_FREQ_LOW;
  HAL_GPIO_Init(LD2_GPIO_Port, &GPIO_InitStruct);

  /* EXTI interrupt init*/
  HAL_NVIC_SetPriority(EXTI4_IRQn, 0, 0);
  HAL_NVIC_EnableIRQ(EXTI4_IRQn);

  HAL_NVIC_SetPriority(EXTI9_5_IRQn, 0, 0);
  HAL_NVIC_EnableIRQ(EXTI9_5_IRQn);

}

/* USER CODE BEGIN 4 */

void HAL_UART_RxCpltCallback(UART_HandleTypeDef *huart){
	if(huart==&huart5){
		data_in(1);
	}
	if(huart==&huart7){
		data_in(2);
	}
}
void HAL_TIM_PeriodElapsedCallback(TIM_HandleTypeDef *htim){
	if(htim == &htim5){
		state = 1;
	}
}

void HAL_GPIO_EXTI_Callback(uint16_t GPIO_Pin)
{
    if(GPIO_Pin == GPIO_PIN_4) // If The INT Source Is EXTI Line9 (A9 Pin)
    {
    	Stepper_updateHome(1, 0);
    }
    if(GPIO_Pin == GPIO_PIN_5) // If The INT Source Is EXTI Line9 (A9 Pin)
    {
    	Stepper_updateHome(2, 0);
    }
    if(GPIO_Pin == GPIO_PIN_6) // If The INT Source Is EXTI Line9 (A9 Pin)
    {
    	Stepper_updateHome(3, 0);
    }
}

/* USER CODE END 4 */

void Error_Handler(void)
{
  __disable_irq();
  while (1)
  {
  }
}

/************************ (C) COPYRIGHT STMicroelectronics *****END OF FILE****/
